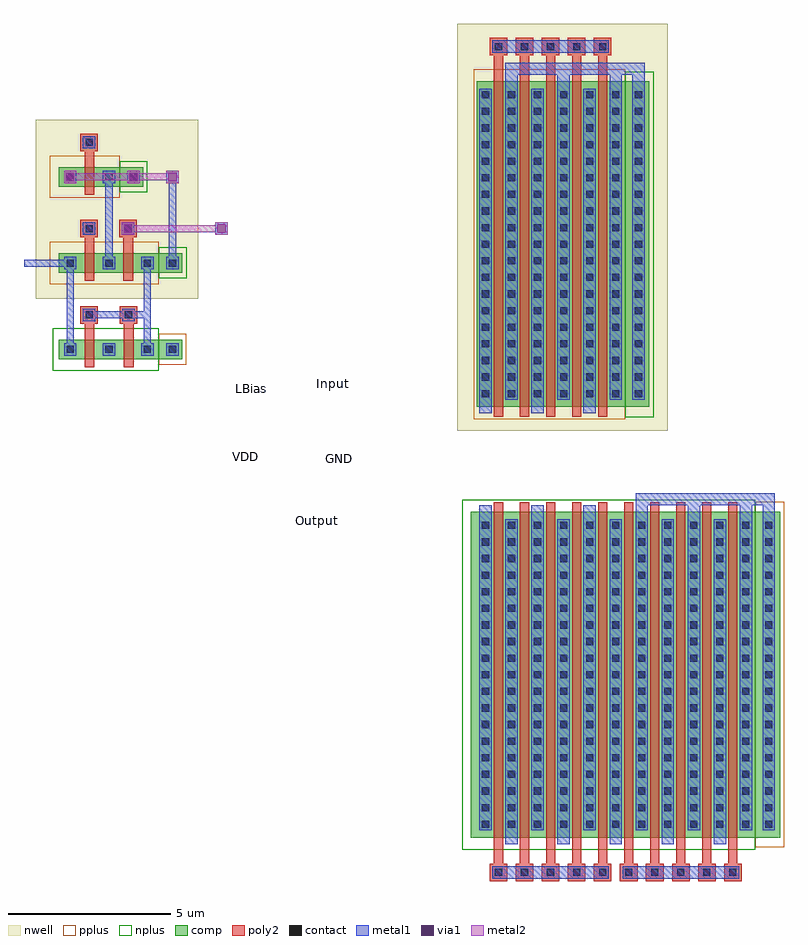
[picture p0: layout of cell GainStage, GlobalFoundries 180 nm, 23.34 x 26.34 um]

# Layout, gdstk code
import gdstk
lib = gdstk.Library(unit=1e-6, precision=1e-09)
def R(c, l, rs):  # rectangles x0, y0, x1, y1
    for r in rs: c.add(gdstk.rectangle(r[:2], r[2:], *l))
def A(c, l, x, y, w, h, nx, ny, dx, dy):  # array of equal rectangles
    R(c, l, [(x+i*dx, y+j*dy, x+i*dx+w, y+j*dy+h) for i in range(nx) for j in range(ny)])
nwell = (21, 0)
comp = (22, 0)
poly2 = (30, 0)
pplus = (31, 0)
nplus = (32, 0)
contact = (33, 0)
metal1 = (34, 0)
via1 = (35, 0)
metal2 = (36, 0)

gainstage = lib.new_cell('GainStage')
R(gainstage, nwell, [(3.9,0.84,10.371,13.34), (-9.045,4.89,-4.045,10.39)])
R(gainstage, comp, [(4.32,-11.656,13.821,-1.655), (4.5,1.57,9.801,11.57), (-8.345,3.04,-4.545,3.64), (-8.345,5.69,-4.545,6.29), (-8.345,8.34,-5.745,8.94)])
A(gainstage, poly2, 4.9, -12.996, 0.54, 0.54, 10, 1, 0.8, 0)
A(gainstage, poly2, 5.03, -12.456, 0.28, 11.101, 10, 1, 0.8, 0)
A(gainstage, poly2, 5.03, 1.27, 0.28, 11.1, 5, 1, 0.8, 0)
A(gainstage, poly2, -7.545, 2.79, 0.3, 1.34, 1, 3, 0, 2.65)
A(gainstage, poly2, -7.675, 4.13, 0.54, 0.54, 1, 3, 0, 2.65)
A(gainstage, poly2, 4.9, 12.37, 0.54, 0.54, 5, 1, 0.8, 0)
R(gainstage, poly2, [(-6.335,2.79,-6.035,4.13), (-6.465,4.13,-5.925,4.67), (-6.355,5.44,-6.055,6.78), (-6.485,6.78,-5.945,7.32)])
R(gainstage, pplus, [(13.06,-11.956,13.94,-1.345), (4.41,1.195,9.061,11.945), (-5.27,2.865,-4.415,3.815), (-8.615,5.34,-5.265,6.64), (-8.62,7.99,-6.47,9.29)])
R(gainstage, nplus, [(4.06,-12.031,13.061,-1.28), (9.061,1.26,9.941,11.87), (-8.52,2.69,-5.27,3.99), (-5.265,5.52,-4.41,6.47), (-6.47,8.17,-5.615,9.12)])
A(gainstage, contact, 5.06, -12.836, 0.22, 0.22, 10, 1, 0.8, 0)
A(gainstage, contact, 4.66, -11.356, 0.22, 0.22, 5, 5, 0.8, 0.51)
A(gainstage, contact, 8.66, -11.356, 0.221, 0.22, 1, 5, 0, 0.51)
A(gainstage, contact, 9.46, -11.356, 0.22, 0.22, 5, 5, 0.8, 0.51)
A(gainstage, contact, 13.36, -11.356, 0.22, 0.22, 1, 5, 0, 0.51)
A(gainstage, contact, 4.66, -8.806, 0.22, 0.221, 5, 1, 0.8, 0)
A(gainstage, contact, 9.46, -8.806, 0.22, 0.221, 5, 1, 0.8, 0)
A(gainstage, contact, 4.66, -8.295, 0.22, 0.22, 5, 13, 0.8, 0.51)
A(gainstage, contact, 8.66, -8.295, 0.221, 0.22, 1, 13, 0, 0.51)
A(gainstage, contact, 9.46, -8.295, 0.22, 0.22, 5, 13, 0.8, 0.51)
A(gainstage, contact, 13.36, -8.295, 0.22, 0.22, 1, 13, 0, 0.51)
A(gainstage, contact, 4.66, 1.87, 0.22, 0.22, 5, 19, 0.8, 0.51)
A(gainstage, contact, 8.66, 1.87, 0.221, 0.22, 1, 19, 0, 0.51)
A(gainstage, contact, 9.36, 1.87, 0.22, 0.22, 1, 19, 0, 0.51)
A(gainstage, contact, -8.095, 3.23, 0.22, 0.22, 1, 3, 0, 2.65)
A(gainstage, contact, -6.905, 3.23, 0.22, 0.22, 1, 3, 0, 2.65)
A(gainstage, contact, -7.515, 4.29, 0.22, 0.22, 1, 3, 0, 2.65)
A(gainstage, contact, 5.06, 12.53, 0.22, 0.22, 5, 1, 0.8, 0)
R(gainstage, contact, [(8.66,-8.806,8.881,-8.585), (13.36,-8.806,13.58,-8.585), (-5.725,3.23,-5.505,3.45), (-4.955,3.23,-4.735,3.45), (-6.305,4.29,-6.085,4.51), (-5.725,5.88,-5.505,6.1), (-4.955,5.88,-4.735,6.1), (-6.325,6.94,-6.105,7.16), (-6.155,8.53,-5.935,8.75)])
A(gainstage, metal1, 4.98, -12.916, 0.38, 0.38, 10, 1, 0.8, 0)
A(gainstage, metal1, 4.58, -11.436, 0.38, 9.561, 5, 1, 0.8, 0)
A(gainstage, metal1, 9.38, -11.436, 0.38, 9.561, 5, 1, 0.8, 0)
A(gainstage, metal1, 4.58, -1.875, 0.38, 0.42, 6, 1, 1.6, 0)
A(gainstage, metal1, 4.58, 1.37, 0.38, 0.42, 3, 1, 1.6, 0)
A(gainstage, metal1, 4.58, 1.79, 0.38, 9.56, 5, 1, 0.8, 0)
A(gainstage, metal1, -8.175, 3.15, 0.38, 0.38, 1, 3, 0, 2.65)
A(gainstage, metal1, -6.985, 3.15, 0.38, 0.38, 1, 3, 0, 2.65)
A(gainstage, metal1, -5.035, 3.15, 0.38, 0.38, 1, 3, 0, 2.65)
A(gainstage, metal1, -7.595, 4.21, 0.38, 0.38, 1, 3, 0, 2.65)
A(gainstage, metal1, 4.98, 12.45, 0.38, 0.38, 5, 1, 0.8, 0)
R(gainstage, metal1, [(4.98,-12.916,8.56,-12.536), (8.98,-12.916,12.56,-12.536), (5.38,-11.856,5.76,-11.436), (6.98,-11.856,7.36,-11.436), (8.58,-11.856,8.961,-11.436), (10.18,-11.856,10.56,-11.436), (11.78,-11.856,12.16,-11.436), (8.58,-11.436,8.961,-1.875), (13.28,-11.436,13.66,-1.875), (13.28,-1.875,13.66,-1.455), (9.38,-1.455,13.66,-1.075), (8.58,1.79,8.961,11.35), (9.28,1.79,9.66,11.35), (-5.805,3.15,-5.425,3.53), (-8.095,3.53,-7.875,5.8), (-5.725,3.53,-5.505,5.8), (-6.385,4.21,-6.005,4.59), (-7.215,4.29,-6.385,4.51), (-6.005,4.29,-5.505,4.51), (-5.805,5.8,-5.425,6.18), (-9.405,5.88,-7.875,6.1), (-6.905,6.18,-6.685,8.45), (-4.955,6.18,-4.735,8.45), (-6.405,6.86,-6.025,7.24), (-3.525,6.86,-3.145,7.24), (-6.235,8.45,-5.855,8.83), (5.38,11.35,5.76,11.77), (6.98,11.35,7.36,11.77), (8.58,11.35,8.961,11.77), (9.28,11.35,9.66,11.77), (5.38,11.77,9.66,12.15), (4.98,12.45,8.56,12.83)])
R(gainstage, via1, [(-6.345,6.92,-6.085,7.18), (-3.465,6.92,-3.205,7.18), (-8.115,8.51,-7.855,8.77), (-6.175,8.51,-5.915,8.77), (-4.975,8.51,-4.715,8.77)])
R(gainstage, metal2, [(-6.405,6.86,-6.025,7.24), (-3.525,6.86,-3.145,7.24), (-6.325,6.94,-3.225,7.16), (-8.175,8.45,-7.795,8.83), (-6.235,8.45,-5.855,8.83), (-5.035,8.45,-4.655,8.83), (-8.095,8.53,-4.735,8.75)])
gainstage.add(gdstk.Label('Output', (-0.404,-1.912), layer=34, texttype=10))
gainstage.add(gdstk.Label('VDD', (-2.598,0.036), layer=34, texttype=10))
gainstage.add(gdstk.Label('Input', (0.092,2.28), layer=34, texttype=10))
gainstage.add(gdstk.Label('CBias', (-0.09,2.28), layer=34, texttype=10))
gainstage.add(gdstk.Label('GND', (0.295,0), layer=34, texttype=10))
gainstage.add(gdstk.Label('LBias', (-2.413,2.134), layer=34, texttype=10))

lib.write_gds('GainStage.gds')
